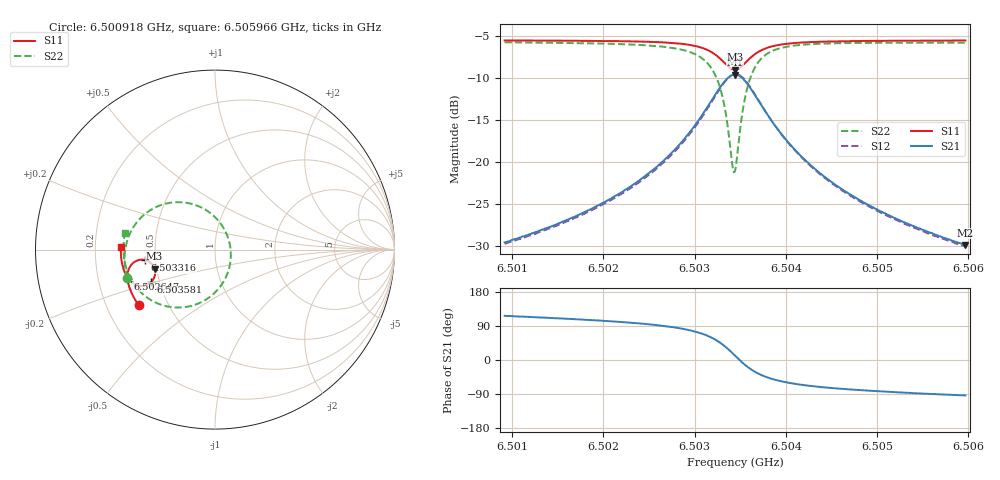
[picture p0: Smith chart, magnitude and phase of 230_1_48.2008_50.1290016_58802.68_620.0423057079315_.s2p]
#  HZ  S  RI  R  50.00
! Rohde & Schwarz Vector Network Analyzer
! Rohde-Schwarz,ZNB20-2Port,1311601062101988,3.16
! Created: UTC 3/20/2024, 11:46:18 AM
! freq[Hz]  re:S11  im:S11  re:S21  im:S21  re:S12  im:S12  re:S22  im:S22
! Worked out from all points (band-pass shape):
!   401 points, 6.500918 GHz to 6.505966 GHz, reference 50 ohm
!   highest |S21| = -9.62 dB at 6.503442 GHz (marker M1); lowest = -29.8 dB at 6.505966 GHz (marker M2)
!   |S21| within 3 dB of the highest: 6.503189 GHz to 6.503694 GHz (504.4 kHz wide, 0.00776 % of centre)
!   lowest |S11| = -9.0 dB at 6.503442 GHz (marker M3), VSWR 2.09, Z = 24.3 - j5.95 ohm
!   |S11| at or under -10 dB: nowhere
!   |S22| runs from -21.2 to -5.8 dB; largest |S21 - S12| = 0.011
!   S11 on the Smith chart (normalised r, x): 6.500918 GHz: 0.34, -0.29; 6.502647 GHz: 0.33, -0.14; 6.503316 GHz: 0.44, -0.06; 6.503581 GHz: 0.45, -0.19; 6.505966 GHz: 0.31, +0.01
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6.5009175e9  -0.4248 -0.3112  -0.015 0.0299  -0.0132 0.03  -0.489 -0.157
6.5017632e9  -0.4613 -0.2489  -0.0143 0.0477  -0.012 0.0471  -0.5028 -0.0676
6.5022049e9  -0.4771 -0.2101  -0.0117 0.0655  -0.0087 0.0647  -0.5005 -0.00581
6.5026088e9  -0.487 -0.1661  -0.00239 0.0964  0.00127 0.0941  -0.4806 0.0739
6.5026466e9  -0.4874 -0.1613  -0.000496 0.1007  0.00302 0.098  -0.4767 0.0832
6.5029243e9  -0.4835 -0.1182  0.0261 0.143  0.0297 0.1386  -0.4212 0.1691
6.5031136e9  -0.4621 -0.0799  0.0802 0.1851  0.0828 0.1791  -0.3175 0.2419
6.5032272e9  -0.4295 -0.0593  0.1497 0.2028  0.1503 0.1965  -0.1927 0.2641
6.5033156e9  -0.3889 -0.0577  0.2293 0.1864  0.2297 0.1813  -0.0549 0.2233
6.5033534e9  -0.3696 -0.0653  0.2657 0.1633  0.2665 0.1586  0.0052 0.1758
6.5034165e9  -0.3428 -0.0922  0.3135 0.0988  0.3161 0.0937  0.0771 0.0518
6.5034418e9  -0.3365 -0.107  0.3236 0.0664  0.3269 0.0604  0.0879 -0.00863
6.503467e9  -0.3335 -0.1227  0.3271 0.0325  0.3306 0.0255  0.0857 -0.0705
6.5035301e9  -0.3409 -0.1601  0.3086 -0.0457  0.3107 -0.0556  0.0292 -0.206
6.5035806e9  -0.3574 -0.182  0.2751 -0.0913  0.2744 -0.1024  -0.0477 -0.2769
6.5036942e9  -0.4019 -0.2013  0.1903 -0.1357  0.1849 -0.1452  -0.219 -0.3224
6.5038583e9  -0.4481 -0.1916  0.1084 -0.1324  0.1013 -0.1373  -0.3667 -0.2752
6.504035e9  -0.4755 -0.1702  0.0639 -0.1122  0.0576 -0.1144  -0.4386 -0.2101
6.5042874e9  -0.4962 -0.1402  0.0339 -0.0878  0.0291 -0.0884  -0.4818 -0.1378
6.5047039e9  -0.5128 -0.0971  0.0138 -0.0629  0.0106 -0.0624  -0.5053 -0.0567
6.505133e9  -0.5211 -0.0576  0.00509 -0.048  0.00279 -0.0473  -0.5104 0.00297
6.505966e9  -0.526 0.0128  -0.00204 -0.0322  -0.00339 -0.0316  -0.5023 0.0909
